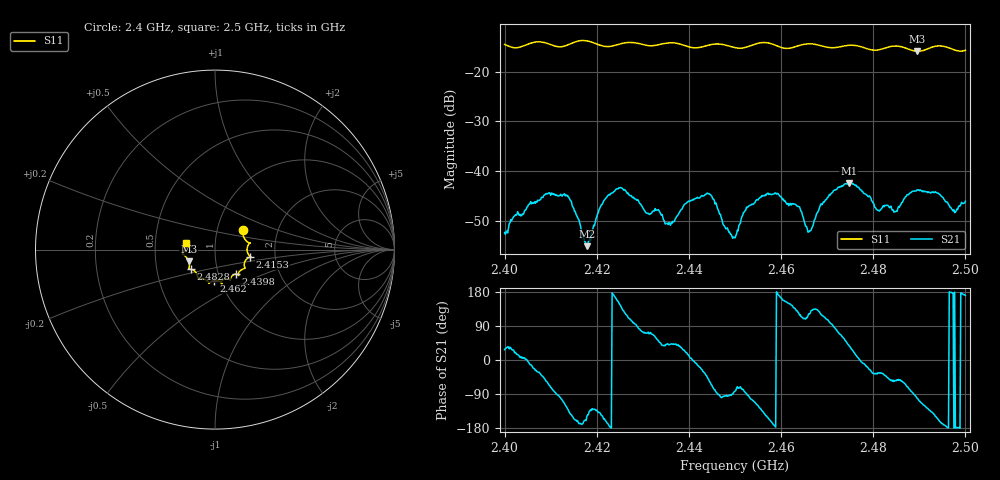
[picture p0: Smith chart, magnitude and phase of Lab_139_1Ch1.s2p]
# Hz S RI R 50
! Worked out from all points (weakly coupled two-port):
!   601 points, 2.4 GHz to 2.5 GHz, reference 50 ohm
!   highest |S21| = -42.42 dB at 2.4747 GHz (marker M1); lowest = -55.2 dB at 2.4178 GHz (marker M2)
!   lowest |S11| = -15.9 dB at 2.4895 GHz (marker M3), VSWR 1.38, Z = 37 - j5.01 ohm
!   |S11| at or under -10 dB: start of sweep to end of sweep
!   S12 and S22 are empty: the file has one direction only
!   S11 on the Smith chart (normalised r, x): 2.4 GHz: 1.33, +0.30; 2.4153 GHz: 1.48, -0.12; 2.4398 GHz: 1.21, -0.34; 2.462 GHz: 0.93, -0.33; 2.4828 GHz: 0.74, -0.17; 2.5 GHz: 0.72, +0.06
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2.4e9  0.1552 0.107  0.00214 0.0011  0 0  0 0
2.409333e9  0.1899 0.0318  0.00293 -0.00514  0 0  0 0
2.415333e9  0.196 -0.0387  -0.00362 -0.00145  0 0  0 0
2.416667e9  0.202 -0.0426  -0.0024 -0.000423  0 0  0 0
2.417833e9  0.2005 -0.0422  -0.00151 -0.000872  0 0  0 0
2.421167e9  0.174 -0.055  -0.00385 -0.00249  0 0  0 0
2.424667e9  0.1638 -0.0934  -0.00596 0.00289  0 0  0 0
2.433333e9  0.1307 -0.1336  0.00256 0.00318  0 0  0 0
2.435833e9  0.1321 -0.1447  0.00223 0.00192  0 0  0 0
2.439833e9  0.1156 -0.1362  0.00475 0.00119  0 0  0 0
2.4445e9  0.0848 -0.1662  0.00315 -0.0049  0 0  0 0
2.45e9  0.0647 -0.1627  0.000286 -0.0021  0 0  0 0
2.455667e9  0.0375 -0.1925  -0.00351 -0.00417  0 0  0 0
2.462e9  -0.00496 -0.173  -0.00397 0.00255  0 0  0 0
2.466667e9  -0.0342 -0.1879  -0.00176 0.002  0 0  0 0
2.469e9  -0.0398 -0.1767  -0.00215 0.00414  0 0  0 0
2.474667e9  -0.0913 -0.1605  0.00585 0.00481  0 0  0 0
2.482833e9  -0.1363 -0.1096  0.00328 -0.00309  0 0  0 0
2.483333e9  -0.1401 -0.1093  0.00288 -0.00335  0 0  0 0
2.4895e9  -0.1462 -0.0661  -0.00121 -0.00634  0 0  0 0
2.4975e9  -0.1667 -0.00129  -0.00407 -1.66e-05  0 0  0 0
2.5e9  -0.1598 0.0388  -0.00489 0.000812  0 0  0 0
